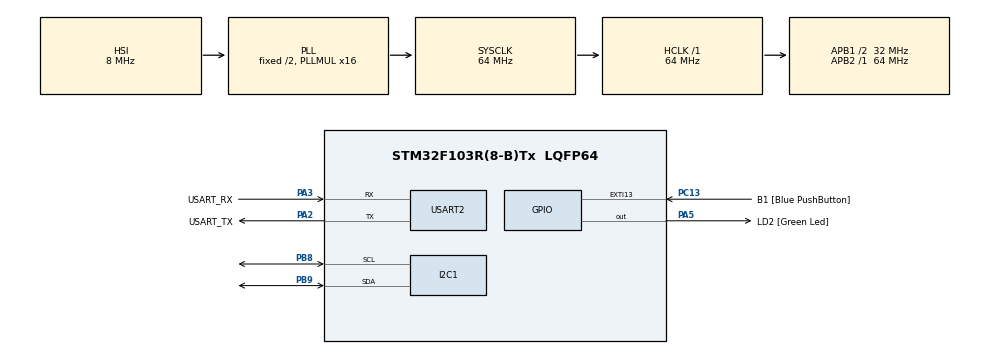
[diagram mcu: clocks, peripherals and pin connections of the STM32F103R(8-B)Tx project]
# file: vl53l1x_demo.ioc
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Mcu.Family=STM32F1
Mcu.Name=STM32F103R(8-B)Tx
Mcu.Package=LQFP64
NVIC.EXTI15_10_IRQn=true\:0\:0\:false\:false\:true\:true
NVIC.PriorityGroup=NVIC_PRIORITYGROUP_4
PA13.GPIO_Label=TMS
PA13.Mode=Serial_Wire
PA13.Signal=SYS_JTMS-SWDIO
PA14.GPIO_Label=TCK
PA14.Mode=Serial_Wire
PA14.Signal=SYS_JTCK-SWCLK
PA2.GPIO_Label=USART_TX
PA2.GPIO_Mode=GPIO_MODE_AF_PP
PA2.GPIO_PuPd=GPIO_NOPULL
PA2.GPIO_Speed=GPIO_SPEED_FREQ_LOW
PA2.Mode=Asynchronous
PA2.Signal=USART2_TX
PA3.GPIO_Label=USART_RX
PA3.GPIO_Mode=GPIO_MODE_AF_PP
PA3.GPIO_PuPd=GPIO_NOPULL
PA3.GPIO_Speed=GPIO_SPEED_FREQ_LOW
PA3.Mode=Asynchronous
PA3.Signal=USART2_RX
PA5.GPIO_Label=LD2 [Green Led]
PA5.GPIO_ModeDefaultOutputPP=GPIO_MODE_OUTPUT_PP
PA5.GPIO_PuPd=GPIO_NOPULL
PA5.GPIO_Speed=GPIO_SPEED_FREQ_LOW
PA5.Signal=GPIO_Output
PB3.GPIO_Label=SWO
PB3.Signal=SYS_JTDO-TRACESWO
PB8.Mode=I2C
PB8.Signal=I2C1_SCL
PB9.Mode=I2C
PB9.Signal=I2C1_SDA
PC13-TAMPER-RTC.GPIO_Label=B1 [Blue PushButton]
PC13-TAMPER-RTC.Signal=GPXTI13
PC14-OSC32_IN.Signal=RCC_OSC32_IN
PC15-OSC32_OUT.Signal=RCC_OSC32_OUT
PD0-OSC_IN.Signal=RCC_OSC_IN
PD1-OSC_OUT.Signal=RCC_OSC_OUT
ProjectManager.HeapSize=0x200
ProjectManager.StackSize=0x400
ProjectManager.TargetToolchain=TrueSTUDIO
RCC.AHBFreq_Value=64000000
RCC.APB1CLKDivider=RCC_HCLK_DIV2
RCC.APB1Freq_Value=32000000
RCC.APB1TimFreq_Value=64000000
RCC.APB2Freq_Value=64000000
RCC.APB2TimFreq_Value=64000000
RCC.HCLKFreq_Value=64000000
RCC.PLLMUL=RCC_PLL_MUL16
RCC.SYSCLKFreq_VALUE=64000000
RCC.SYSCLKSource=RCC_SYSCLKSOURCE_PLLCLK
RCC.USBFreq_Value=64000000
USART2.VirtualMode=VM_ASYNC
board=NUCLEO-F103RB

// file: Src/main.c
/**
  ******************************************************************************
  * @file           : main.c
  * @brief          : Main program body
  ******************************************************************************
  ** This notice applies to any and all portions of this file
  * that are not between comment pairs USER CODE BEGIN and
  * USER CODE END. Other portions of this file, whether
  * inserted by the user or by software development tools
  * are owned by their respective copyright owners.
  *
  * COPYRIGHT(c) 2019 STMicroelectronics
  *
  * Redistribution and use in source and binary forms, with or without modification,
  * are permitted provided that the following conditions are met:
  *   1. Redistributions of source code must retain the above copyright notice,
  *      this list of conditions and the following disclaimer.
  *   2. Redistributions in binary form must reproduce the above copyright notice,
  *      this list of conditions and the following disclaimer in the documentation
  *      and/or other materials provided with the distribution.
  *   3. Neither the name of STMicroelectronics nor the names of its contributors
  *      may be used to endorse or promote products derived from this software
  *      without specific prior written permission.
  *
  * THIS SOFTWARE IS PROVIDED BY THE COPYRIGHT HOLDERS AND CONTRIBUTORS "AS IS"
  * AND ANY EXPRESS OR IMPLIED WARRANTIES, INCLUDING, BUT NOT LIMITED TO, THE
  * IMPLIED WARRANTIES OF MERCHANTABILITY AND FITNESS FOR A PARTICULAR PURPOSE ARE
  * DISCLAIMED. IN NO EVENT SHALL THE COPYRIGHT HOLDER OR CONTRIBUTORS BE LIABLE
  * FOR ANY DIRECT, INDIRECT, INCIDENTAL, SPECIAL, EXEMPLARY, OR CONSEQUENTIAL
  * DAMAGES (INCLUDING, BUT NOT LIMITED TO, PROCUREMENT OF SUBSTITUTE GOODS OR
  * SERVICES; LOSS OF USE, DATA, OR PROFITS; OR BUSINESS INTERRUPTION) HOWEVER
  * CAUSED AND ON ANY THEORY OF LIABILITY, WHETHER IN CONTRACT, STRICT LIABILITY,
  * OR TORT (INCLUDING NEGLIGENCE OR OTHERWISE) ARISING IN ANY WAY OUT OF THE USE
  * OF THIS SOFTWARE, EVEN IF ADVISED OF THE POSSIBILITY OF SUCH DAMAGE.
  *
  ******************************************************************************
  */
#include "main.h"
#include "stm32f1xx_hal.h"

/* USER CODE BEGIN Includes */
#include "vl53l1_api.h"

/* USER CODE END Includes */

I2C_HandleTypeDef hi2c1;

UART_HandleTypeDef huart2;

/* USER CODE BEGIN PV */
/* Private variables ---------------------------------------------------------*/
// I2C addresses of GPIO expanders on the X-NUCLEO-53L1A1
#define EXPANDER_1_ADDR 0x84 // 0x42 << 1
#define EXPANDER_2_ADDR 0x86 // 0x43 << 1

/* USER CODE END PV */

void SystemClock_Config(void);
static void MX_GPIO_Init(void);
static void MX_I2C1_Init(void);
static void MX_USART2_UART_Init(void);

/* USER CODE BEGIN PFP */
/* Private function prototypes -----------------------------------------------*/

/* USER CODE END PFP */

int main(void)
{
  /* USER CODE BEGIN 1 */
  uint8_t buff[50];
  VL53L1_RangingMeasurementData_t RangingData;
  VL53L1_Dev_t  vl53l1_c; // center module
  VL53L1_DEV    Dev = &vl53l1_c;

  /* USER CODE END 1 */

  /* MCU Configuration----------------------------------------------------------*/

  /* Reset of all peripherals, Initializes the Flash interface and the Systick. */
  HAL_Init();

  /* Configure the system clock */
  SystemClock_Config();

  /* Initialize all configured peripherals */
  MX_GPIO_Init();
  MX_I2C1_Init();
  MX_USART2_UART_Init();
  /* USER CODE BEGIN 2 */

  // initialize vl53l1x communication parameters
  Dev->I2cHandle = &hi2c1;
  Dev->I2cDevAddr = 0x52;

  /*** Initialize GPIO expanders ***/
  // Unused GPIO should be configured as outputs to minimize the power consumption
  buff[0] = 0x14; // GPDR (GPIO set direction register)
  buff[1] = 0xFF; // GPIO_0 - GPIO_7
  buff[2] = 0xFF; // GPIO_8 - GPIO_15
  HAL_I2C_Master_Transmit( &hi2c1, EXPANDER_1_ADDR, buff, 3, 0xFFFF );
  HAL_I2C_Master_Transmit( &hi2c1, EXPANDER_2_ADDR, buff, 3, 0xFFFF );

  // clear XSHUT (disable center module) -> expander 1, GPIO_15
  buff[0] = 0x13; // GPSR + 1 ( GPIO set pin state register)
  HAL_I2C_Master_Transmit( &hi2c1, EXPANDER_1_ADDR, buff, 1, 0xFFFF );
  HAL_I2C_Master_Receive( &hi2c1, EXPANDER_1_ADDR, buff, 1, 0xFFFF );
  buff[1] = buff[0] & ~( 1 << ( 15 - 8 ) ); // clear GPIO_15
  buff[0] = 0x13; // GPSR + 1 ( GPIO set pin state register)
  HAL_I2C_Master_Transmit( &hi2c1, EXPANDER_1_ADDR, buff, 2, 0xFFFF );

  HAL_Delay( 2 ); // 2ms reset time

  // set XSHUT (enable center module) -> expander 1, GPIO_15
  buff[0] = 0x13; // GPSR + 1 ( GPIO set pin state)
  HAL_I2C_Master_Transmit( &hi2c1, EXPANDER_1_ADDR, buff, 1, 0xFFFF );
  HAL_I2C_Master_Receive( &hi2c1, EXPANDER_1_ADDR, buff, 1, 0xFFFF );
  buff[1] = buff[0] | ( 1 << ( 15 - 8 ) ); // set GPIO_15
  buff[0] = 0x13; // GPSR + 1 ( GPIO set pin state register)
  HAL_I2C_Master_Transmit( &hi2c1, EXPANDER_1_ADDR, buff, 2, 0xFFFF );

  HAL_Delay( 2 );

  /*** VL53L1X Initialization ***/
  VL53L1_WaitDeviceBooted( Dev );
  VL53L1_DataInit( Dev );
  VL53L1_StaticInit( Dev );
  VL53L1_SetDistanceMode( Dev, VL53L1_DISTANCEMODE_LONG );
  VL53L1_SetMeasurementTimingBudgetMicroSeconds( Dev, 50000 );
  VL53L1_SetInterMeasurementPeriodMilliSeconds( Dev, 500 );
  VL53L1_StartMeasurement( Dev );

  /* USER CODE END 2 */

  /* Infinite loop */
  while (1)
  {

  /* USER CODE BEGIN 3 */
    VL53L1_WaitMeasurementDataReady( Dev );

    VL53L1_GetRangingMeasurementData( Dev, &RangingData );

    sprintf( (char*)buff, "%d, %d, %.2f, %.2f\n\r", RangingData.RangeStatus, RangingData.RangeMilliMeter,
             ( RangingData.SignalRateRtnMegaCps / 65536.0 ), RangingData.AmbientRateRtnMegaCps / 65336.0 );
    HAL_UART_Transmit( &huart2, buff, strlen( (char*)buff ), 0xFFFF );

    VL53L1_ClearInterruptAndStartMeasurement( Dev );

  }
  /* USER CODE END 3 */

}

void SystemClock_Config(void)
{

  RCC_OscInitTypeDef RCC_OscInitStruct;
  RCC_ClkInitTypeDef RCC_ClkInitStruct;

    /**Initializes the CPU, AHB and APB busses clocks
    */
  RCC_OscInitStruct.OscillatorType = RCC_OSCILLATORTYPE_HSI;
  RCC_OscInitStruct.HSIState = RCC_HSI_ON;
  RCC_OscInitStruct.HSICalibrationValue = 16;
  RCC_OscInitStruct.PLL.PLLState = RCC_PLL_ON;
  RCC_OscInitStruct.PLL.PLLSource = RCC_PLLSOURCE_HSI_DIV2;
  RCC_OscInitStruct.PLL.PLLMUL = RCC_PLL_MUL16;
  if (HAL_RCC_OscConfig(&RCC_OscInitStruct) != HAL_OK)
  {
    _Error_Handler(__FILE__, __LINE__);
  }

    /**Initializes the CPU, AHB and APB busses clocks
    */
  RCC_ClkInitStruct.ClockType = RCC_CLOCKTYPE_HCLK|RCC_CLOCKTYPE_SYSCLK
                              |RCC_CLOCKTYPE_PCLK1|RCC_CLOCKTYPE_PCLK2;
  RCC_ClkInitStruct.SYSCLKSource = RCC_SYSCLKSOURCE_PLLCLK;
  RCC_ClkInitStruct.AHBCLKDivider = RCC_SYSCLK_DIV1;
  RCC_ClkInitStruct.APB1CLKDivider = RCC_HCLK_DIV2;
  RCC_ClkInitStruct.APB2CLKDivider = RCC_HCLK_DIV1;

  if (HAL_RCC_ClockConfig(&RCC_ClkInitStruct, FLASH_LATENCY_2) != HAL_OK)
  {
    _Error_Handler(__FILE__, __LINE__);
  }

    /**Configure the Systick interrupt time
    */
  HAL_SYSTICK_Config(HAL_RCC_GetHCLKFreq()/1000);

    /**Configure the Systick
    */
  HAL_SYSTICK_CLKSourceConfig(SYSTICK_CLKSOURCE_HCLK);

  /* SysTick_IRQn interrupt configuration */
  HAL_NVIC_SetPriority(SysTick_IRQn, 0, 0);
}

/* I2C1 init function */
static void MX_I2C1_Init(void)
{

  hi2c1.Instance = I2C1;
  hi2c1.Init.ClockSpeed = 100000;
  hi2c1.Init.DutyCycle = I2C_DUTYCYCLE_2;
  hi2c1.Init.OwnAddress1 = 0;
  hi2c1.Init.AddressingMode = I2C_ADDRESSINGMODE_7BIT;
  hi2c1.Init.DualAddressMode = I2C_DUALADDRESS_DISABLE;
  hi2c1.Init.OwnAddress2 = 0;
  hi2c1.Init.GeneralCallMode = I2C_GENERALCALL_DISABLE;
  hi2c1.Init.NoStretchMode = I2C_NOSTRETCH_DISABLE;
  if (HAL_I2C_Init(&hi2c1) != HAL_OK)
  {
    _Error_Handler(__FILE__, __LINE__);
  }

}

/* USART2 init function */
static void MX_USART2_UART_Init(void)
{

  huart2.Instance = USART2;
  huart2.Init.BaudRate = 115200;
  huart2.Init.WordLength = UART_WORDLENGTH_8B;
  huart2.Init.StopBits = UART_STOPBITS_1;
  huart2.Init.Parity = UART_PARITY_NONE;
  huart2.Init.Mode = UART_MODE_TX_RX;
  huart2.Init.HwFlowCtl = UART_HWCONTROL_NONE;
  huart2.Init.OverSampling = UART_OVERSAMPLING_16;
  if (HAL_UART_Init(&huart2) != HAL_OK)
  {
    _Error_Handler(__FILE__, __LINE__);
  }

}

/** Configure pins as
        * Analog
        * Input
        * Output
        * EVENT_OUT
        * EXTI
*/
static void MX_GPIO_Init(void)
{

  GPIO_InitTypeDef GPIO_InitStruct;

  /* GPIO Ports Clock Enable */
  __HAL_RCC_GPIOC_CLK_ENABLE();
  __HAL_RCC_GPIOD_CLK_ENABLE();
  __HAL_RCC_GPIOA_CLK_ENABLE();
  __HAL_RCC_GPIOB_CLK_ENABLE();

  /*Configure GPIO pin Output Level */
  HAL_GPIO_WritePin(LD2_GPIO_Port, LD2_Pin, GPIO_PIN_RESET);

  /*Configure GPIO pin : B1_Pin */
  GPIO_InitStruct.Pin = B1_Pin;
  GPIO_InitStruct.Mode = GPIO_MODE_IT_RISING;
  GPIO_InitStruct.Pull = GPIO_NOPULL;
  HAL_GPIO_Init(B1_GPIO_Port, &GPIO_InitStruct);

  /*Configure GPIO pin : LD2_Pin */
  GPIO_InitStruct.Pin = LD2_Pin;
  GPIO_InitStruct.Mode = GPIO_MODE_OUTPUT_PP;
  GPIO_InitStruct.Pull = GPIO_NOPULL;
  GPIO_InitStruct.Speed = GPIO_SPEED_FREQ_LOW;
  HAL_GPIO_Init(LD2_GPIO_Port, &GPIO_InitStruct);

  /* EXTI interrupt init*/
  HAL_NVIC_SetPriority(EXTI15_10_IRQn, 0, 0);
  HAL_NVIC_EnableIRQ(EXTI15_10_IRQn);

}

void _Error_Handler(char *file, int line)
{
  while(1)
  {
  }
}

/************************ (C) COPYRIGHT STMicroelectronics *****END OF FILE****/
